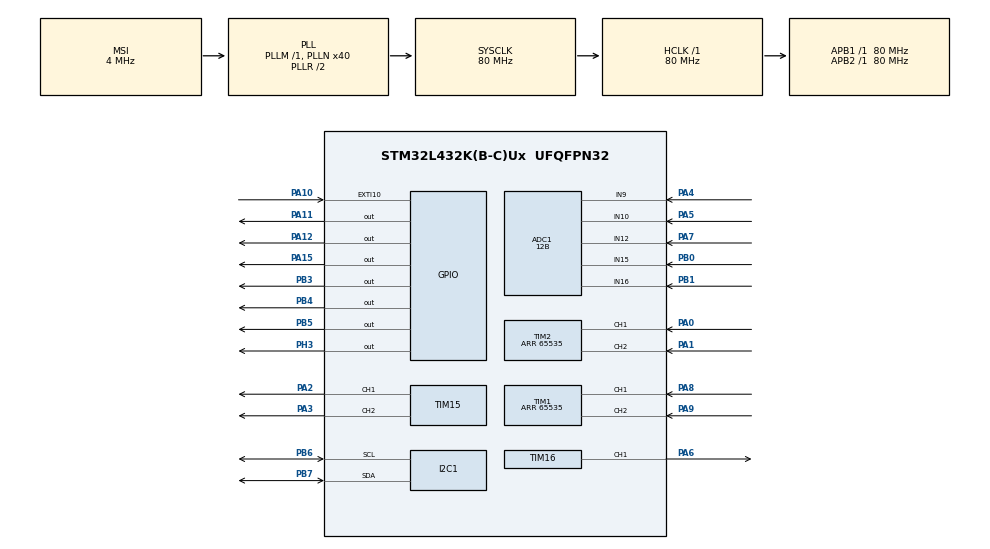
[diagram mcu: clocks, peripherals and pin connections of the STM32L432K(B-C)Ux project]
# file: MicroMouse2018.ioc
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ADC1.Channel-10\#ChannelRegularConversion=ADC_CHANNEL_9
ADC1.Channel-11\#ChannelRegularConversion=ADC_CHANNEL_12
ADC1.Channel-12\#ChannelRegularConversion=ADC_CHANNEL_16
ADC1.Channel-8\#ChannelRegularConversion=ADC_CHANNEL_15
ADC1.Channel-9\#ChannelRegularConversion=ADC_CHANNEL_10
ADC1.ClockPrescaler=ADC_CLOCK_ASYNC_DIV1
ADC1.ContinuousConvMode=ENABLE
ADC1.DMAContinuousRequests=DISABLE
ADC1.DataAlign=ADC_DATAALIGN_RIGHT
ADC1.DiscontinuousConvMode=DISABLE
ADC1.EOCSelection=ADC_EOC_SINGLE_CONV
ADC1.EnableAnalogWatchDog1=false
ADC1.EnableAnalogWatchDog2=false
ADC1.EnableAnalogWatchDog3=false
ADC1.EnableInjectedConversion=DISABLE
ADC1.EnableRegularConversion=ENABLE
ADC1.ExternalTrigConv=ADC_SOFTWARE_START
ADC1.ExternalTrigConvEdge=ADC_EXTERNALTRIGCONVEDGE_NONE
ADC1.LowPowerAutoWait=DISABLE
ADC1.NbrOfConversion=5
ADC1.NbrOfConversionFlag=1
ADC1.OffsetNumber-10\#ChannelRegularConversion=ADC_OFFSET_NONE
ADC1.OffsetNumber-11\#ChannelRegularConversion=ADC_OFFSET_NONE
ADC1.OffsetNumber-12\#ChannelRegularConversion=ADC_OFFSET_NONE
ADC1.OffsetNumber-8\#ChannelRegularConversion=ADC_OFFSET_NONE
ADC1.OffsetNumber-9\#ChannelRegularConversion=ADC_OFFSET_NONE
ADC1.Overrun=ADC_OVR_DATA_PRESERVED
ADC1.OversamplingMode=DISABLE
ADC1.Rank-10\#ChannelRegularConversion=3
ADC1.Rank-11\#ChannelRegularConversion=4
ADC1.Rank-12\#ChannelRegularConversion=5
ADC1.Rank-8\#ChannelRegularConversion=1
ADC1.Rank-9\#ChannelRegularConversion=2
ADC1.Resolution=ADC_RESOLUTION_12B
ADC1.SamplingTime-10\#ChannelRegularConversion=ADC_SAMPLETIME_640CYCLES_5
ADC1.SamplingTime-11\#ChannelRegularConversion=ADC_SAMPLETIME_640CYCLES_5
ADC1.SamplingTime-12\#ChannelRegularConversion=ADC_SAMPLETIME_640CYCLES_5
ADC1.SamplingTime-8\#ChannelRegularConversion=ADC_SAMPLETIME_640CYCLES_5
ADC1.SamplingTime-9\#ChannelRegularConversion=ADC_SAMPLETIME_640CYCLES_5
ADC1.ScanConvMode=ADC_SCAN_ENABLE
ADC1.master=1
Mcu.Family=STM32L4
Mcu.Name=STM32L432K(B-C)Ux
Mcu.Package=UFQFPN32
NVIC.PriorityGroup=NVIC_PRIORITYGROUP_4
NVIC.TIM1_BRK_TIM15_IRQn=true\:0\:0\:false\:false\:true\:true
NVIC.TIM1_CC_IRQn=true\:0\:0\:false\:false\:true\:true
NVIC.TIM1_TRG_COM_IRQn=true\:0\:0\:false\:false\:true\:true
NVIC.TIM1_UP_TIM16_IRQn=true\:0\:0\:false\:false\:true\:true
NVIC.TIM2_IRQn=true\:0\:0\:false\:false\:true\:true
NVIC.TIM7_IRQn=true\:0\:0\:false\:false\:true\:true
PA0.GPIO_PuPd=GPIO_PULLUP
PA0.Signal=S_TIM2_CH1
PA1.GPIO_PuPd=GPIO_PULLUP
PA1.Signal=S_TIM2_CH2
PA10.Signal=GPXTI10
PA11.Signal=GPIO_Output
PA12.Signal=GPIO_Output
PA13\ (JTMS-SWDIO).Mode=Serial_Wire
PA13\ (JTMS-SWDIO).Signal=SYS_JTMS-SWDIO
PA14\ (JTCK-SWCLK).Mode=Serial_Wire
PA14\ (JTCK-SWCLK).Signal=SYS_JTCK-SWCLK
PA15\ (JTDI).Signal=GPIO_Output
PA2.Signal=S_TIM15_CH1
PA3.Signal=S_TIM15_CH2
PA4.Signal=ADCx_IN9
PA5.Signal=ADCx_IN10
PA6.Signal=S_TIM16_CH1
PA7.Signal=ADCx_IN12
PA8.GPIO_PuPd=GPIO_PULLUP
PA8.Signal=S_TIM1_CH1
PA9.GPIO_PuPd=GPIO_PULLUP
PA9.Signal=S_TIM1_CH2
PB0.Signal=ADCx_IN15
PB1.Signal=ADCx_IN16
PB3\ (JTDO-TRACESWO).Signal=GPIO_Output
PB4\ (NJTRST).Signal=GPIO_Output
PB5.Signal=GPIO_Output
PB6.Mode=I2C
PB6.Signal=I2C1_SCL
PB7.Mode=I2C
PB7.Signal=I2C1_SDA
PC14-OSC32_IN\ (PC14).Mode=LSE-External-Oscillator
PC14-OSC32_IN\ (PC14).Signal=RCC_OSC32_IN
PC15-OSC32_OUT\ (PC15).Mode=LSE-External-Oscillator
PC15-OSC32_OUT\ (PC15).Signal=RCC_OSC32_OUT
PH3-BOOT0.Signal=GPIO_Output
ProjectManager.HeapSize=0x200
ProjectManager.StackSize=0x400
ProjectManager.TargetToolchain=MDK-ARM V5
RCC.ADCFreq_Value=32000000
RCC.AHBFreq_Value=80000000
RCC.APB1Freq_Value=80000000
RCC.APB1TimFreq_Value=80000000
RCC.APB2Freq_Value=80000000
RCC.APB2TimFreq_Value=80000000
RCC.CortexFreq_Value=80000000
RCC.HCLKFreq_Value=80000000
RCC.HSE_VALUE=8000000
RCC.HSI16_VALUE=16000000
RCC.HSI48_VALUE=48000000
RCC.HSI_VALUE=16000000
RCC.MSI_VALUE=4000000
RCC.PLLMUL=RCC_PLLMUL_4
RCC.PLLN=40
RCC.PLLSAI1N=16
RCC.SYSCLKFreq_VALUE=80000000
RCC.SYSCLKSource=RCC_SYSCLKSOURCE_PLLCLK
RCC.USBFreq_Value=32000000
RCC.VCOOutputFreq_Value=160000000
SH.ADCx_IN10.0=ADC1_IN10,IN10-Single-Ended
SH.ADCx_IN12.0=ADC1_IN12,IN12-Single-Ended
SH.ADCx_IN15.0=ADC1_IN15,IN15-Single-Ended
SH.ADCx_IN16.0=ADC1_IN16,IN16-Single-Ended
SH.ADCx_IN9.0=ADC1_IN9,IN9-Single-Ended
SH.S_TIM15_CH1.0=TIM15_CH1,PWM Generation1 CH1
SH.S_TIM15_CH2.0=TIM15_CH2,PWM Generation2 CH2
SH.S_TIM16_CH1.0=TIM16_CH1,PWM Generation1 CH1
SH.S_TIM1_CH1.0=TIM1_CH1,Encoder_Interface
SH.S_TIM1_CH2.0=TIM1_CH2,Encoder_Interface
SH.S_TIM2_CH1.0=TIM2_CH1,Encoder_Interface
SH.S_TIM2_CH2.0=TIM2_CH2,Encoder_Interface
TIM1.EncoderMode=TIM_ENCODERMODE_TI12
TIM1.IC1Filter=5
TIM1.IC2Filter=5
TIM1.Period=65535
TIM15.Channel-PWM\ Generation1\ CH1=TIM_CHANNEL_1
TIM15.Channel-PWM\ Generation2\ CH2=TIM_CHANNEL_2
TIM16.Channel=TIM_CHANNEL_1
TIM16.Period=80
TIM16.Prescaler=1000
TIM2.IC1Filter=5
TIM2.IC2Filter=5
TIM2.Period=65535
TIM7.Period=1000
TIM7.Prescaler=80
VP_TIM16_VS_ClockSourceINT.Mode=Enable_Timer
VP_TIM7_VS_ClockSourceINT.Mode=Enable_Timer
board=NUCLEO-L432KC

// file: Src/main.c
/**
  ******************************************************************************
  * @file           : main.c
  * @brief          : Main program body
  ******************************************************************************
  ** This notice applies to any and all portions of this file
  * that are not between comment pairs USER CODE BEGIN and
  * USER CODE END. Other portions of this file, whether
  * inserted by the user or by software development tools
  * are owned by their respective copyright owners.
  *
  * COPYRIGHT(c) 2018 STMicroelectronics
  *
  * Redistribution and use in source and binary forms, with or without modification,
  * are permitted provided that the following conditions are met:
  *   1. Redistributions of source code must retain the above copyright notice,
  *      this list of conditions and the following disclaimer.
  *   2. Redistributions in binary form must reproduce the above copyright notice,
  *      this list of conditions and the following disclaimer in the documentation
  *      and/or other materials provided with the distribution.
  *   3. Neither the name of STMicroelectronics nor the names of its contributors
  *      may be used to endorse or promote products derived from this software
  *      without specific prior written permission.
  *
  * THIS SOFTWARE IS PROVIDED BY THE COPYRIGHT HOLDERS AND CONTRIBUTORS "AS IS"
  * AND ANY EXPRESS OR IMPLIED WARRANTIES, INCLUDING, BUT NOT LIMITED TO, THE
  * IMPLIED WARRANTIES OF MERCHANTABILITY AND FITNESS FOR A PARTICULAR PURPOSE ARE
  * DISCLAIMED. IN NO EVENT SHALL THE COPYRIGHT HOLDER OR CONTRIBUTORS BE LIABLE
  * FOR ANY DIRECT, INDIRECT, INCIDENTAL, SPECIAL, EXEMPLARY, OR CONSEQUENTIAL
  * DAMAGES (INCLUDING, BUT NOT LIMITED TO, PROCUREMENT OF SUBSTITUTE GOODS OR
  * SERVICES; LOSS OF USE, DATA, OR PROFITS; OR BUSINESS INTERRUPTION) HOWEVER
  * CAUSED AND ON ANY THEORY OF LIABILITY, WHETHER IN CONTRACT, STRICT LIABILITY,
  * OR TORT (INCLUDING NEGLIGENCE OR OTHERWISE) ARISING IN ANY WAY OUT OF THE USE
  * OF THIS SOFTWARE, EVEN IF ADVISED OF THE POSSIBILITY OF SUCH DAMAGE.
  *
  ******************************************************************************
  */
#include "main.h"
#include "stm32l4xx_hal.h"

/* USER CODE BEGIN Includes */
#include "dwt_stm32_delay.h"
#define FLASH_USER_START_ADDR   ADDR_FLASH_PAGE_16   /* Start @ of user Flash area */
#define FLASH_USER_END_ADDR     ADDR_FLASH_PAGE_16 + FLASH_PAGE_SIZE*8 - 1   /* End @ of user Flash area */
/* USER CODE END Includes */

ADC_HandleTypeDef hadc1;

I2C_HandleTypeDef hi2c1;

TIM_HandleTypeDef htim1;
TIM_HandleTypeDef htim2;
TIM_HandleTypeDef htim7;
TIM_HandleTypeDef htim15;
TIM_HandleTypeDef htim16;

/* USER CODE BEGIN PV */
/* Private variables ---------------------------------------------------------*/
int adcValue[5];
uint32_t time=0;

uint32_t indX = 0;
int32_t dataRead[4096];
int enc1=0,enc2 =0;

int fotoValue[4];
int dataMeasured[40];
int sum[4];

uint8_t pressed = 0;
uint8_t writeFlash = 0;
uint8_t userButtonCounter = 0;
uint32_t lastChangeTime = 0;
uint16_t userButtonGesture = 0;
uint8_t lastState = 0; //0 = nincs lenyomva, 1 = lenyomva

int before = 0;
int next = 0;

uint32_t FirstPage = 0, NbOfPages = 0, BankNumber = 0;
uint32_t Address = 0, PAGEError = 0, MemoryProgramStatus = 0;

static FLASH_EraseInitTypeDef EraseInitStruct;

/* USER CODE END PV */

void SystemClock_Config(void);
static void MX_GPIO_Init(void);
static void MX_TIM1_Init(void);
static void MX_TIM2_Init(void);
static void MX_TIM15_Init(void);
static void MX_TIM16_Init(void);
static void MX_I2C1_Init(void);
static void MX_ADC1_Init(void);
static void MX_TIM7_Init(void);

void HAL_TIM_MspPostInit(TIM_HandleTypeDef *htim);

/* USER CODE BEGIN PFP */
/* Private function prototypes -----------------------------------------------*/
static uint32_t GetPage(uint32_t Address);
static uint32_t GetBank(uint32_t Address);
void UserButtonHandler(int button_state);
void beep(int note, int duration);
int ReadFoto(int pin);
/* USER CODE END PFP */

/* USER CODE BEGIN 0 */
int64_t dataFlash = 0;

uint8_t data[2];
uint8_t buffer[14];
int16_t value[7];
int i=0;
int fotoindex=0;

//star wars start
const int c = (int)1000000/261; //261Hz
const int d = (int)1000000/294;  //294Hz
const int e = (int)1000000/329; //329Hz
const int f = (int)1000000/349; //349Hz
const int g = (int)1000000/391; //391Hz
const int gS = (int)1000000/415; //415Hz
const int a = (int)1000000/440; //440Hz
const int aS = (int)1000000/455; //455Hz
const int b = (int)1000000/466; //466Hz
const int cH = (int)1000000/523; //523Hz
const int cSH = (int)1000000/554; //554Hz
const int dH = (int)1000000/587; //587Hz
const int dSH = (int)1000000/622; //622Hz
const int eH = (int)1000000/659; //659Hz
const int fH = (int)1000000/698; //698Hz
const int fSH = (int)1000000/740; //740Hz
const int gH = (int)1000000/784; //784Hz
const int gSH = (int)1000000/830; //830Hz
const int aH = (int)1000000/880; //880Hz

void firstSection()
{
  beep(a, 500);
  beep(a, 500);
  beep(a, 500);
  beep(f, 350);
  beep(cH, 150);
  beep(a, 500);
  beep(f, 350);
  beep(cH, 150);
  beep(a, 650);

  HAL_Delay(500);

  beep(eH, 500);
  beep(eH, 500);
  beep(eH, 500);
  beep(fH, 350);
  beep(cH, 150);
  beep(gS, 500);
  beep(f, 350);
  beep(cH, 150);
  beep(a, 650);

  HAL_Delay(500);
}

void secondSection()
{
  beep(aH, 500);
  beep(a, 300);
  beep(a, 150);
  beep(aH, 500);
  beep(gSH, 325);
  beep(gH, 175);
  beep(fSH, 125);
  beep(fH, 125);
  beep(fSH, 250);

  HAL_Delay(325);

  beep(aS, 250);
  beep(dSH, 500);
  beep(dH, 325);
  beep(cSH, 175);
  beep(cH, 125);
  beep(b, 125);
  beep(cH, 250);

  HAL_Delay(350);
}
//star wars end

void ok()
{
for (int i=1000; i<2000; i=i*1.02) beep(500000/i,10);
for (int i=2000; i>1000; i=i*.98) beep(500000/i,10);
for (int i=1000; i<2000; i=i*1.02) beep(500000/i,10);
}

void ohno()
{
for (int i=1000; i<1244; i=i*1.01)  beep(1000000/i,30);
for (int i=1244; i>1000; i=i*.99)beep(1000000/i,30);
}

void beep1()
{
	beep(b,100);
	HAL_Delay(50);
	beep(a,100);
	HAL_Delay(50);
	beep(g,100);
	HAL_Delay(50);
	beep(f,100);
	HAL_Delay(50);
	beep(e,100);
	HAL_Delay(50);
	beep(d,100);
	HAL_Delay(50);
	beep(c,100);
	HAL_Delay(50);
}

void beep2()
{
	beep(c,200);
	HAL_Delay(100);
	beep(d,200);
	HAL_Delay(100);
	beep(e,200);
	HAL_Delay(100);
	beep(f,200);
	HAL_Delay(100);
	beep(g,200);
	HAL_Delay(100);
	beep(a,200);
	HAL_Delay(100);
	beep(b,200);
	HAL_Delay(100);
}

void beep3()
{
	beep(cH,200);
	HAL_Delay(100);
	beep(dH,200);
	HAL_Delay(100);
	beep(eH,200);
	HAL_Delay(100);
	beep(fH,200);
	HAL_Delay(100);
	beep(gH,200);
	HAL_Delay(100);
	beep(aH,200);
	HAL_Delay(100);
}

void beep4()
{
	beep(500,50);
	HAL_Delay(100);
	beep(500,50);
	HAL_Delay(100);
	beep(500,50);
	HAL_Delay(100);

	beep(500,200);
	HAL_Delay(100);
	beep(500,200);
	HAL_Delay(100);
	beep(500,200);
	HAL_Delay(100);

	beep(500,50);
	HAL_Delay(100);
	beep(500,50);
	HAL_Delay(100);
	beep(500,50);
	HAL_Delay(100);
}

/* USER CODE END 0 */

int main(void)
{

  /* MCU Configuration----------------------------------------------------------*/

  /* Reset of all peripherals, Initializes the Flash interface and the Systick. */
  HAL_Init();

  /* Configure the system clock */
  SystemClock_Config();

  /* Initialize all configured peripherals */
  MX_GPIO_Init();
  MX_TIM1_Init();
  MX_TIM2_Init();
  MX_TIM15_Init();
  MX_TIM16_Init();
  MX_I2C1_Init();
  MX_ADC1_Init();
  MX_TIM7_Init();
  /* USER CODE BEGIN 2 */
	//microsec
	DWT_Delay_Init ();

	//BUZZER
	HAL_TIM_PWM_Start(&htim16, TIM_CHANNEL_1);
	TIM16->CCR1=0;
//	TIM16->PSC=100;

//	//GYRO
//	if(HAL_I2C_IsDeviceReady(&hi2c1, 0xD0, 2, 10) == HAL_OK)
//	{
//		ok();
//	}
//	else{beep4(); HAL_GPIO_WritePin(GPIOB, GPIO_PIN_3, GPIO_PIN_SET);}
//	HAL_Delay(300);
//
//	//Transmit via I2C
//	data[0]=0x6B;
//	data[1]=0x00;
//	HAL_I2C_Master_Transmit(&hi2c1, 0xD0, data, 2, 10);

	//ENCODER
//	HAL_TIM_Encoder_Start_IT(&htim1, TIM_CHANNEL_1);
//	HAL_TIM_Encoder_Start(&htim1, TIM_CHANNEL_1);
//	HAL_TIM_Encoder_Start_IT(&htim2, TIM_CHANNEL_1);
//	HAL_TIM_Encoder_Start(&htim2, TIM_CHANNEL_1);

	//Timer interrupt
	HAL_TIM_Base_Start_IT(&htim7);
	//set data
	for(int i=0;i< 4096;i++){
		dataRead[i]=0;
	}
	for(int i=0;i< 4;i++){
		fotoValue[i]=0;
		sum[i]=0;
	}
	for(int i=0;i< 40;i++){
		dataMeasured[i]=0;
	}

	/*dataRead[indX++] = 62;
	for(int i=0;i< 256;i++){
		if(i%2 == 0) dataRead[i]=i/2;
		else dataRead[i] = i*501;
	}*/
		/*for(int  i =0; i<400;i++)
		dataRead[indX++] = i*1000+1;*/
	/*for(int i=0;i<100;i++){
		HAL_GPIO_TogglePin(GPIOB,GPIO_PIN_3);
		HAL_Delay(100);
	}*/

	HAL_GPIO_WritePin(GPIOB,GPIO_PIN_4,GPIO_PIN_RESET);
	HAL_GPIO_WritePin(GPIOA,GPIO_PIN_12,GPIO_PIN_RESET);
	HAL_GPIO_WritePin(GPIOA,GPIO_PIN_11,GPIO_PIN_RESET);
	HAL_GPIO_WritePin(GPIOB,GPIO_PIN_3,GPIO_PIN_RESET);

  /* USER CODE END 2 */

  /* Infinite loop */
  /* USER CODE BEGIN WHILE */
  while (1)
  {
		if(writeFlash == 1) break;
//		TIM16->PSC=2000-0.415*adcValue[fotoindex];
//		for(int i=0; i<4; i++)dataRead[indX++]=adcValue[i];
//		HAL_Delay(200);

		//IRLED + FOTO

	if(next>before) {
		for (int i=0; i<10; i++) {
					HAL_GPIO_WritePin(GPIOB,GPIO_PIN_4,GPIO_PIN_SET);
					DWT_Delay_us(100);
					HAL_ADC_Start(&hadc1);
					for(int i =0;i < 5;i++){
						HAL_ADC_PollForConversion(&hadc1,100);
						fotoValue[i] = HAL_ADC_GetValue(&hadc1);
					}
					HAL_ADC_Stop(&hadc1);
					fotoValue[1]= fotoValue[1]-1300;
					HAL_GPIO_WritePin(GPIOB,GPIO_PIN_4,GPIO_PIN_RESET);
					DWT_Delay_us(100000);
					dataMeasured[i] = fotoValue[0];

					HAL_GPIO_WritePin(GPIOA,GPIO_PIN_12,GPIO_PIN_SET);
					DWT_Delay_us(100);
							HAL_ADC_Start(&hadc1);
					for(int i =0;i < 5;i++){
						HAL_ADC_PollForConversion(&hadc1,100);
						fotoValue[i] = HAL_ADC_GetValue(&hadc1);
					}
					HAL_ADC_Stop(&hadc1);
					fotoValue[1]= fotoValue[1]-1300;
					HAL_GPIO_WritePin(GPIOA,GPIO_PIN_12,GPIO_PIN_RESET);
					DWT_Delay_us(100000);
					dataMeasured[i+10] = fotoValue[1];

					HAL_GPIO_WritePin(GPIOA,GPIO_PIN_11,GPIO_PIN_SET);
					DWT_Delay_us(100);
							HAL_ADC_Start(&hadc1);
					for(int i =0;i < 5;i++){
						HAL_ADC_PollForConversion(&hadc1,100);
						fotoValue[i] = HAL_ADC_GetValue(&hadc1);
					}
					HAL_ADC_Stop(&hadc1);
					fotoValue[1]= fotoValue[1]-1300;
					HAL_GPIO_WritePin(GPIOA,GPIO_PIN_11,GPIO_PIN_RESET);
					DWT_Delay_us(100000);
					dataMeasured[i+20] = fotoValue[2];

					HAL_GPIO_WritePin(GPIOB,GPIO_PIN_3,GPIO_PIN_SET);
					DWT_Delay_us(100);
					HAL_ADC_Start(&hadc1);
					for(int i =0;i < 5;i++){
						HAL_ADC_PollForConversion(&hadc1,100);
						fotoValue[i] = HAL_ADC_GetValue(&hadc1);
					}
					HAL_ADC_Stop(&hadc1);
					fotoValue[1]= fotoValue[1]-1300;
					HAL_GPIO_WritePin(GPIOB,GPIO_PIN_3,GPIO_PIN_RESET);
					DWT_Delay_us(100000);
					dataMeasured[i+30] = fotoValue[3];
		}
		for(int i=0; i<10;i++){
			sum[0] += dataMeasured[i];
			sum[1] += dataMeasured[i+10];
			sum[2] += dataMeasured[i+20];
			sum[3] += dataMeasured[i+30];
		}
		for(int i =0;i<4;i++){
			dataRead[indX++] = sum[i]/10;
			sum[i]=0;
		}
		before=next;
		beep(500, 100);
	}
	if(pressed == 1){
		pressed=0;
		beep(500, 50);
		HAL_Delay(50);
		beep(500, 50);
	}

		HAL_ADC_Start(&hadc1);
		for(int i =0;i < 5;i++){
			HAL_ADC_PollForConversion(&hadc1,100);
			adcValue[i] = HAL_ADC_GetValue(&hadc1);
		}
		HAL_ADC_Stop(&hadc1);
		HAL_Delay(50);
		UserButtonHandler(adcValue[4]);

//		//ENCODER
//		//if(adcValue[4] < 10) break;
//		enc1=TIM1->CNT;
//		dataRead[indX++] = enc1;
//		enc2=TIM2->CNT;
//		dataRead[indX++] = enc2;
//		HAL_Delay(100);
//		if(enc1 != 0 || enc2 != 0)
//			HAL_GPIO_WritePin(GPIOB,GPIO_PIN_13,GPIO_PIN_SET);

//		//GYRO
//	data[0]=0x3B;
//	HAL_I2C_Master_Transmit(&hi2c1, 0xD0, data, 1, 10);
//	HAL_Delay(10);
//	HAL_I2C_Master_Receive(&hi2c1, 0xD1, buffer, 14, 10);
//	for(int i=0;i<7;i++)
//		{
//			value[i]=(buffer[2*i]<<8) + buffer[2*i+1];
//		}
//	value[3]=value[3]/340.00+36.53;
//	HAL_Delay(1000);
//	for(int  i =0; i<7;i++)
//		dataRead[indX++] = value[i];

//		//BUZZER
//
//	//STAR_WARS START
//	//Play first section
//  firstSection();
//  //Play second section
//  secondSection();
//  //Variant 1
//  beep(f, 250);
//  beep(gS, 500);
//  beep(f, 350);
//  beep(a, 125);
//  beep(cH, 500);
//  beep(a, 375);
//  beep(cH, 125);
//  beep(eH, 650);
//  HAL_Delay(500);
//  //Repeat second section
//  secondSection();
//  //Variant 2
//  beep(f, 250);
//  beep(gS, 500);
//  beep(f, 375);
//  beep(cH, 125);
//  beep(a, 500);
//  beep(f, 375);
//  beep(cH, 125);
//  beep(a, 650);
//  HAL_Delay(650);
//  //STAR_WARS END

//	ok();
//	HAL_Delay(500);
//	ohno();
//	HAL_Delay(500);
//	beep1();
//	HAL_Delay(500);
//	beep2();
//	HAL_Delay(500);
//	beep3();
//	HAL_Delay(500);
//	beep4();
//	HAL_Delay(500);

  /* USER CODE END WHILE */

  /* USER CODE BEGIN 3 */

  }
	if(1) // 0 - doesn't write to flash // 1 - writes to flash
	{
	/* Unlock the Flash to enable the flash control register access *************/
  HAL_FLASH_Unlock();

	/* Erase the user Flash area
    (area defined by FLASH_USER_START_ADDR and FLASH_USER_END_ADDR) ***********/

  /* Clear OPTVERR bit set on virgin samples */
  __HAL_FLASH_CLEAR_FLAG(FLASH_FLAG_OPTVERR);
  /* Get the 1st page to erase */
  FirstPage = GetPage(FLASH_USER_START_ADDR);
  /* Get the number of pages to erase from 1st page */
  NbOfPages = GetPage(FLASH_USER_END_ADDR) - FirstPage + 1;
  /* Get the bank */
  BankNumber = GetBank(FLASH_USER_START_ADDR);
  /* Fill EraseInit structure*/
  EraseInitStruct.TypeErase   = FLASH_TYPEERASE_PAGES;
  EraseInitStruct.Banks       = BankNumber;
  EraseInitStruct.Page        = FirstPage;
  EraseInitStruct.NbPages     = NbOfPages;

	  /* Note: If an erase operation in Flash memory also concerns data in the data or instruction cache,
     you have to make sure that these data are rewritten before they are accessed during code
     execution. If this cannot be done safely, it is recommended to flush the caches by setting the
     DCRST and ICRST bits in the FLASH_CR register. */
  if (HAL_FLASHEx_Erase(&EraseInitStruct, &PAGEError) != HAL_OK)
  {
    /*
      Error occurred while page erase.
      User can add here some code to deal with this error.
      PAGEError will contain the faulty page and then to know the code error on this page,
      user can call function 'HAL_FLASH_GetError()'
    */
    /* Infinite loop */
    while (1)
    {
      //TODO: hiba visszajelzés buzzeren
    }
  }
	/* Program the user Flash area word by word
    (area defined by FLASH_USER_START_ADDR and FLASH_USER_END_ADDR) ***********/

  Address = FLASH_USER_START_ADDR;

	indX = 0;
  while (Address < FLASH_USER_END_ADDR && indX < 4096)
  {
		if (dataRead[indX+1] < 0) dataFlash = ((int64_t)dataRead[indX+1] + 1<<32) + (int64_t)dataRead[indX];
		else dataFlash = ((int64_t)dataRead[indX+1]<<32) + (int64_t)dataRead[indX];
    if (HAL_FLASH_Program(FLASH_TYPEPROGRAM_DOUBLEWORD, Address, dataFlash) == HAL_OK)
    {
      Address = Address + 8;
			indX = indX + 2;
    }
   else
    {
      /* Error occurred while writing data in Flash memory.
         User can add here some code to deal with this error */
      while (1)
      {
			//TODO: hiba visszajelzés buzzeren
      }
    }
  }

  /* Lock the Flash to disable the flash control register access (recommended
     to protect the FLASH memory against possible unwanted operation) *********/
  HAL_FLASH_Lock();
	ok();
}

  /* USER CODE END 3 */

}

void SystemClock_Config(void)
{

  RCC_OscInitTypeDef RCC_OscInitStruct;
  RCC_ClkInitTypeDef RCC_ClkInitStruct;
  RCC_PeriphCLKInitTypeDef PeriphClkInit;

    /**Configure LSE Drive Capability
    */
  __HAL_RCC_LSEDRIVE_CONFIG(RCC_LSEDRIVE_LOW);

    /**Initializes the CPU, AHB and APB busses clocks
    */
  RCC_OscInitStruct.OscillatorType = RCC_OSCILLATORTYPE_LSE|RCC_OSCILLATORTYPE_MSI;
  RCC_OscInitStruct.LSEState = RCC_LSE_ON;
  RCC_OscInitStruct.MSIState = RCC_MSI_ON;
  RCC_OscInitStruct.MSICalibrationValue = 0;
  RCC_OscInitStruct.MSIClockRange = RCC_MSIRANGE_6;
  RCC_OscInitStruct.PLL.PLLState = RCC_PLL_ON;
  RCC_OscInitStruct.PLL.PLLSource = RCC_PLLSOURCE_MSI;
  RCC_OscInitStruct.PLL.PLLM = 1;
  RCC_OscInitStruct.PLL.PLLN = 40;
  RCC_OscInitStruct.PLL.PLLP = RCC_PLLP_DIV7;
  RCC_OscInitStruct.PLL.PLLQ = RCC_PLLQ_DIV2;
  RCC_OscInitStruct.PLL.PLLR = RCC_PLLR_DIV2;
  if (HAL_RCC_OscConfig(&RCC_OscInitStruct) != HAL_OK)
  {
    _Error_Handler(__FILE__, __LINE__);
  }

    /**Initializes the CPU, AHB and APB busses clocks
    */
  RCC_ClkInitStruct.ClockType = RCC_CLOCKTYPE_HCLK|RCC_CLOCKTYPE_SYSCLK
                              |RCC_CLOCKTYPE_PCLK1|RCC_CLOCKTYPE_PCLK2;
  RCC_ClkInitStruct.SYSCLKSource = RCC_SYSCLKSOURCE_PLLCLK;
  RCC_ClkInitStruct.AHBCLKDivider = RCC_SYSCLK_DIV1;
  RCC_ClkInitStruct.APB1CLKDivider = RCC_HCLK_DIV1;
  RCC_ClkInitStruct.APB2CLKDivider = RCC_HCLK_DIV1;

  if (HAL_RCC_ClockConfig(&RCC_ClkInitStruct, FLASH_LATENCY_4) != HAL_OK)
  {
    _Error_Handler(__FILE__, __LINE__);
  }

  PeriphClkInit.PeriphClockSelection = RCC_PERIPHCLK_I2C1|RCC_PERIPHCLK_ADC;
  PeriphClkInit.I2c1ClockSelection = RCC_I2C1CLKSOURCE_PCLK1;
  PeriphClkInit.AdcClockSelection = RCC_ADCCLKSOURCE_PLLSAI1;
  PeriphClkInit.PLLSAI1.PLLSAI1Source = RCC_PLLSOURCE_MSI;
  PeriphClkInit.PLLSAI1.PLLSAI1M = 1;
  PeriphClkInit.PLLSAI1.PLLSAI1N = 16;
  PeriphClkInit.PLLSAI1.PLLSAI1P = RCC_PLLP_DIV7;
  PeriphClkInit.PLLSAI1.PLLSAI1Q = RCC_PLLQ_DIV2;
  PeriphClkInit.PLLSAI1.PLLSAI1R = RCC_PLLR_DIV2;
  PeriphClkInit.PLLSAI1.PLLSAI1ClockOut = RCC_PLLSAI1_ADC1CLK;
  if (HAL_RCCEx_PeriphCLKConfig(&PeriphClkInit) != HAL_OK)
  {
    _Error_Handler(__FILE__, __LINE__);
  }

    /**Configure the main internal regulator output voltage
    */
  if (HAL_PWREx_ControlVoltageScaling(PWR_REGULATOR_VOLTAGE_SCALE1) != HAL_OK)
  {
    _Error_Handler(__FILE__, __LINE__);
  }

    /**Configure the Systick interrupt time
    */
  HAL_SYSTICK_Config(HAL_RCC_GetHCLKFreq()/1000);

    /**Configure the Systick
    */
  HAL_SYSTICK_CLKSourceConfig(SYSTICK_CLKSOURCE_HCLK);

    /**Enable MSI Auto calibration
    */
  HAL_RCCEx_EnableMSIPLLMode();

  /* SysTick_IRQn interrupt configuration */
  HAL_NVIC_SetPriority(SysTick_IRQn, 0, 0);
}

/* ADC1 init function */
static void MX_ADC1_Init(void)
{

  ADC_ChannelConfTypeDef sConfig;

    /**Common config
    */
  hadc1.Instance = ADC1;
  hadc1.Init.ClockPrescaler = ADC_CLOCK_ASYNC_DIV1;
  hadc1.Init.Resolution = ADC_RESOLUTION_12B;
  hadc1.Init.DataAlign = ADC_DATAALIGN_RIGHT;
  hadc1.Init.ScanConvMode = ADC_SCAN_ENABLE;
  hadc1.Init.EOCSelection = ADC_EOC_SINGLE_CONV;
  hadc1.Init.LowPowerAutoWait = DISABLE;
  hadc1.Init.ContinuousConvMode = ENABLE;
  hadc1.Init.NbrOfConversion = 5;
  hadc1.Init.DiscontinuousConvMode = DISABLE;
  hadc1.Init.NbrOfDiscConversion = 1;
  hadc1.Init.ExternalTrigConv = ADC_SOFTWARE_START;
  hadc1.Init.ExternalTrigConvEdge = ADC_EXTERNALTRIGCONVEDGE_NONE;
  hadc1.Init.DMAContinuousRequests = DISABLE;
  hadc1.Init.Overrun = ADC_OVR_DATA_PRESERVED;
  hadc1.Init.OversamplingMode = DISABLE;
  if (HAL_ADC_Init(&hadc1) != HAL_OK)
  {
    _Error_Handler(__FILE__, __LINE__);
  }

    /**Configure Regular Channel
    */
  sConfig.Channel = ADC_CHANNEL_15;
  sConfig.Rank = ADC_REGULAR_RANK_1;
  sConfig.SamplingTime = ADC_SAMPLETIME_640CYCLES_5;
  sConfig.SingleDiff = ADC_SINGLE_ENDED;
  sConfig.OffsetNumber = ADC_OFFSET_NONE;
  sConfig.Offset = 0;
  if (HAL_ADC_ConfigChannel(&hadc1, &sConfig) != HAL_OK)
  {
    _Error_Handler(__FILE__, __LINE__);
  }

    /**Configure Regular Channel
    */
  sConfig.Channel = ADC_CHANNEL_10;
  sConfig.Rank = ADC_REGULAR_RANK_2;
  if (HAL_ADC_ConfigChannel(&hadc1, &sConfig) != HAL_OK)
  {
    _Error_Handler(__FILE__, __LINE__);
  }

    /**Configure Regular Channel
    */
  sConfig.Channel = ADC_CHANNEL_9;
  sConfig.Rank = ADC_REGULAR_RANK_3;
  if (HAL_ADC_ConfigChannel(&hadc1, &sConfig) != HAL_OK)
  {
    _Error_Handler(__FILE__, __LINE__);
  }

    /**Configure Regular Channel
    */
  sConfig.Channel = ADC_CHANNEL_12;
  sConfig.Rank = ADC_REGULAR_RANK_4;
  if (HAL_ADC_ConfigChannel(&hadc1, &sConfig) != HAL_OK)
  {
    _Error_Handler(__FILE__, __LINE__);
  }

    /**Configure Regular Channel
    */
  sConfig.Channel = ADC_CHANNEL_16;
  sConfig.Rank = ADC_REGULAR_RANK_5;
  if (HAL_ADC_ConfigChannel(&hadc1, &sConfig) != HAL_OK)
  {
    _Error_Handler(__FILE__, __LINE__);
  }

}

/* I2C1 init function */
static void MX_I2C1_Init(void)
{

  hi2c1.Instance = I2C1;
  hi2c1.Init.Timing = 0x10909CEC;
  hi2c1.Init.OwnAddress1 = 0;
  hi2c1.Init.AddressingMode = I2C_ADDRESSINGMODE_7BIT;
  hi2c1.Init.DualAddressMode = I2C_DUALADDRESS_DISABLE;
  hi2c1.Init.OwnAddress2 = 0;
  hi2c1.Init.OwnAddress2Masks = I2C_OA2_NOMASK;
  hi2c1.Init.GeneralCallMode = I2C_GENERALCALL_DISABLE;
  hi2c1.Init.NoStretchMode = I2C_NOSTRETCH_DISABLE;
  if (HAL_I2C_Init(&hi2c1) != HAL_OK)
  {
    _Error_Handler(__FILE__, __LINE__);
  }

    /**Configure Analogue filter
    */
  if (HAL_I2CEx_ConfigAnalogFilter(&hi2c1, I2C_ANALOGFILTER_ENABLE) != HAL_OK)
  {
    _Error_Handler(__FILE__, __LINE__);
  }

    /**Configure Digital filter
    */
  if (HAL_I2CEx_ConfigDigitalFilter(&hi2c1, 0) != HAL_OK)
  {
    _Error_Handler(__FILE__, __LINE__);
  }

}

/* TIM1 init function */
static void MX_TIM1_Init(void)
{

  TIM_Encoder_InitTypeDef sConfig;
  TIM_MasterConfigTypeDef sMasterConfig;

  htim1.Instance = TIM1;
  htim1.Init.Prescaler = 0;
  htim1.Init.CounterMode = TIM_COUNTERMODE_UP;
  htim1.Init.Period = 65535;
  htim1.Init.ClockDivision = TIM_CLOCKDIVISION_DIV1;
  htim1.Init.RepetitionCounter = 0;
  htim1.Init.AutoReloadPreload = TIM_AUTORELOAD_PRELOAD_DISABLE;
  sConfig.EncoderMode = TIM_ENCODERMODE_TI12;
  sConfig.IC1Polarity = TIM_ICPOLARITY_RISING;
  sConfig.IC1Selection = TIM_ICSELECTION_DIRECTTI;
  sConfig.IC1Prescaler = TIM_ICPSC_DIV1;
  sConfig.IC1Filter = 5;
  sConfig.IC2Polarity = TIM_ICPOLARITY_RISING;
  sConfig.IC2Selection = TIM_ICSELECTION_DIRECTTI;
  sConfig.IC2Prescaler = TIM_ICPSC_DIV1;
  sConfig.IC2Filter = 5;
  if (HAL_TIM_Encoder_Init(&htim1, &sConfig) != HAL_OK)
  {
    _Error_Handler(__FILE__, __LINE__);
  }

  sMasterConfig.MasterOutputTrigger = TIM_TRGO_RESET;
  sMasterConfig.MasterOutputTrigger2 = TIM_TRGO2_RESET;
  sMasterConfig.MasterSlaveMode = TIM_MASTERSLAVEMODE_DISABLE;
  if (HAL_TIMEx_MasterConfigSynchronization(&htim1, &sMasterConfig) != HAL_OK)
  {
    _Error_Handler(__FILE__, __LINE__);
  }

}

/* TIM2 init function */
static void MX_TIM2_Init(void)
{

  TIM_Encoder_InitTypeDef sConfig;
  TIM_MasterConfigTypeDef sMasterConfig;

  htim2.Instance = TIM2;
  htim2.Init.Prescaler = 0;
  htim2.Init.CounterMode = TIM_COUNTERMODE_UP;
  htim2.Init.Period = 65535;
  htim2.Init.ClockDivision = TIM_CLOCKDIVISION_DIV1;
  htim2.Init.AutoReloadPreload = TIM_AUTORELOAD_PRELOAD_DISABLE;
  sConfig.EncoderMode = TIM_ENCODERMODE_TI1;
  sConfig.IC1Polarity = TIM_ICPOLARITY_RISING;
  sConfig.IC1Selection = TIM_ICSELECTION_DIRECTTI;
  sConfig.IC1Prescaler = TIM_ICPSC_DIV1;
  sConfig.IC1Filter = 5;
  sConfig.IC2Polarity = TIM_ICPOLARITY_RISING;
  sConfig.IC2Selection = TIM_ICSELECTION_DIRECTTI;
  sConfig.IC2Prescaler = TIM_ICPSC_DIV1;
  sConfig.IC2Filter = 5;
  if (HAL_TIM_Encoder_Init(&htim2, &sConfig) != HAL_OK)
  {
    _Error_Handler(__FILE__, __LINE__);
  }

  sMasterConfig.MasterOutputTrigger = TIM_TRGO_RESET;
  sMasterConfig.MasterSlaveMode = TIM_MASTERSLAVEMODE_DISABLE;
  if (HAL_TIMEx_MasterConfigSynchronization(&htim2, &sMasterConfig) != HAL_OK)
  {
    _Error_Handler(__FILE__, __LINE__);
  }

}

/* TIM7 init function */
static void MX_TIM7_Init(void)
{

  TIM_MasterConfigTypeDef sMasterConfig;

  htim7.Instance = TIM7;
  htim7.Init.Prescaler = 80;
  htim7.Init.CounterMode = TIM_COUNTERMODE_UP;
  htim7.Init.Period = 1000;
  htim7.Init.AutoReloadPreload = TIM_AUTORELOAD_PRELOAD_DISABLE;
  if (HAL_TIM_Base_Init(&htim7) != HAL_OK)
  {
    _Error_Handler(__FILE__, __LINE__);
  }

  sMasterConfig.MasterOutputTrigger = TIM_TRGO_RESET;
  sMasterConfig.MasterSlaveMode = TIM_MASTERSLAVEMODE_DISABLE;
  if (HAL_TIMEx_MasterConfigSynchronization(&htim7, &sMasterConfig) != HAL_OK)
  {
    _Error_Handler(__FILE__, __LINE__);
  }

}

/* TIM15 init function */
static void MX_TIM15_Init(void)
{

  TIM_MasterConfigTypeDef sMasterConfig;
  TIM_OC_InitTypeDef sConfigOC;
  TIM_BreakDeadTimeConfigTypeDef sBreakDeadTimeConfig;

  htim15.Instance = TIM15;
  htim15.Init.Prescaler = 0;
  htim15.Init.CounterMode = TIM_COUNTERMODE_UP;
  htim15.Init.Period = 0;
  htim15.Init.ClockDivision = TIM_CLOCKDIVISION_DIV1;
  htim15.Init.RepetitionCounter = 0;
  htim15.Init.AutoReloadPreload = TIM_AUTORELOAD_PRELOAD_DISABLE;
  if (HAL_TIM_PWM_Init(&htim15) != HAL_OK)
  {
    _Error_Handler(__FILE__, __LINE__);
  }

  sMasterConfig.MasterOutputTrigger = TIM_TRGO_RESET;
  sMasterConfig.MasterSlaveMode = TIM_MASTERSLAVEMODE_DISABLE;
  if (HAL_TIMEx_MasterConfigSynchronization(&htim15, &sMasterConfig) != HAL_OK)
  {
    _Error_Handler(__FILE__, __LINE__);
  }

  sConfigOC.OCMode = TIM_OCMODE_PWM1;
  sConfigOC.Pulse = 0;
  sConfigOC.OCPolarity = TIM_OCPOLARITY_HIGH;
  sConfigOC.OCNPolarity = TIM_OCNPOLARITY_HIGH;
  sConfigOC.OCFastMode = TIM_OCFAST_DISABLE;
  sConfigOC.OCIdleState = TIM_OCIDLESTATE_RESET;
  sConfigOC.OCNIdleState = TIM_OCNIDLESTATE_RESET;
  if (HAL_TIM_PWM_ConfigChannel(&htim15, &sConfigOC, TIM_CHANNEL_1) != HAL_OK)
  {
    _Error_Handler(__FILE__, __LINE__);
  }

  if (HAL_TIM_PWM_ConfigChannel(&htim15, &sConfigOC, TIM_CHANNEL_2) != HAL_OK)
  {
    _Error_Handler(__FILE__, __LINE__);
  }

  sBreakDeadTimeConfig.OffStateRunMode = TIM_OSSR_DISABLE;
  sBreakDeadTimeConfig.OffStateIDLEMode = TIM_OSSI_DISABLE;
  sBreakDeadTimeConfig.LockLevel = TIM_LOCKLEVEL_OFF;
  sBreakDeadTimeConfig.DeadTime = 0;
  sBreakDeadTimeConfig.BreakState = TIM_BREAK_DISABLE;
  sBreakDeadTimeConfig.BreakPolarity = TIM_BREAKPOLARITY_HIGH;
  sBreakDeadTimeConfig.BreakFilter = 0;
  sBreakDeadTimeConfig.AutomaticOutput = TIM_AUTOMATICOUTPUT_DISABLE;
  if (HAL_TIMEx_ConfigBreakDeadTime(&htim15, &sBreakDeadTimeConfig) != HAL_OK)
  {
    _Error_Handler(__FILE__, __LINE__);
  }

  HAL_TIM_MspPostInit(&htim15);

}

/* TIM16 init function */
static void MX_TIM16_Init(void)
{

  TIM_OC_InitTypeDef sConfigOC;
  TIM_BreakDeadTimeConfigTypeDef sBreakDeadTimeConfig;

  htim16.Instance = TIM16;
  htim16.Init.Prescaler = 1000;
  htim16.Init.CounterMode = TIM_COUNTERMODE_UP;
  htim16.Init.Period = 80;
  htim16.Init.ClockDivision = TIM_CLOCKDIVISION_DIV1;
  htim16.Init.RepetitionCounter = 0;
  htim16.Init.AutoReloadPreload = TIM_AUTORELOAD_PRELOAD_DISABLE;
  if (HAL_TIM_Base_Init(&htim16) != HAL_OK)
  {
    _Error_Handler(__FILE__, __LINE__);
  }

  if (HAL_TIM_PWM_Init(&htim16) != HAL_OK)
  {
    _Error_Handler(__FILE__, __LINE__);
  }

  sConfigOC.OCMode = TIM_OCMODE_PWM1;
  sConfigOC.Pulse = 0;
  sConfigOC.OCPolarity = TIM_OCPOLARITY_HIGH;
  sConfigOC.OCNPolarity = TIM_OCNPOLARITY_HIGH;
  sConfigOC.OCFastMode = TIM_OCFAST_DISABLE;
  sConfigOC.OCIdleState = TIM_OCIDLESTATE_RESET;
  sConfigOC.OCNIdleState = TIM_OCNIDLESTATE_RESET;
  if (HAL_TIM_PWM_ConfigChannel(&htim16, &sConfigOC, TIM_CHANNEL_1) != HAL_OK)
  {
    _Error_Handler(__FILE__, __LINE__);
  }

  sBreakDeadTimeConfig.OffStateRunMode = TIM_OSSR_DISABLE;
  sBreakDeadTimeConfig.OffStateIDLEMode = TIM_OSSI_DISABLE;
  sBreakDeadTimeConfig.LockLevel = TIM_LOCKLEVEL_OFF;
  sBreakDeadTimeConfig.DeadTime = 0;
  sBreakDeadTimeConfig.BreakState = TIM_BREAK_DISABLE;
  sBreakDeadTimeConfig.BreakPolarity = TIM_BREAKPOLARITY_HIGH;
  sBreakDeadTimeConfig.BreakFilter = 0;
  sBreakDeadTimeConfig.AutomaticOutput = TIM_AUTOMATICOUTPUT_DISABLE;
  if (HAL_TIMEx_ConfigBreakDeadTime(&htim16, &sBreakDeadTimeConfig) != HAL_OK)
  {
    _Error_Handler(__FILE__, __LINE__);
  }

  HAL_TIM_MspPostInit(&htim16);

}

/** Configure pins as
        * Analog
        * Input
        * Output
        * EVENT_OUT
        * EXTI
*/
static void MX_GPIO_Init(void)
{

  GPIO_InitTypeDef GPIO_InitStruct;

  /* GPIO Ports Clock Enable */
  __HAL_RCC_GPIOC_CLK_ENABLE();
  __HAL_RCC_GPIOA_CLK_ENABLE();
  __HAL_RCC_GPIOB_CLK_ENABLE();
  __HAL_RCC_GPIOH_CLK_ENABLE();

  /*Configure GPIO pin Output Level */
  HAL_GPIO_WritePin(GPIOA, GPIO_PIN_11|GPIO_PIN_12|GPIO_PIN_15, GPIO_PIN_RESET);

  /*Configure GPIO pin Output Level */
  HAL_GPIO_WritePin(GPIOB, GPIO_PIN_3|GPIO_PIN_4|GPIO_PIN_5, GPIO_PIN_RESET);

  /*Configure GPIO pin Output Level */
  HAL_GPIO_WritePin(GPIOH, GPIO_PIN_3, GPIO_PIN_RESET);

  /*Configure GPIO pin : PA10 */
  GPIO_InitStruct.Pin = GPIO_PIN_10;
  GPIO_InitStruct.Mode = GPIO_MODE_IT_RISING;
  GPIO_InitStruct.Pull = GPIO_NOPULL;
  HAL_GPIO_Init(GPIOA, &GPIO_InitStruct);

  /*Configure GPIO pins : PA11 PA12 PA15 */
  GPIO_InitStruct.Pin = GPIO_PIN_11|GPIO_PIN_12|GPIO_PIN_15;
  GPIO_InitStruct.Mode = GPIO_MODE_OUTPUT_PP;
  GPIO_InitStruct.Pull = GPIO_NOPULL;
  GPIO_InitStruct.Speed = GPIO_SPEED_FREQ_LOW;
  HAL_GPIO_Init(GPIOA, &GPIO_InitStruct);

  /*Configure GPIO pins : PB3 PB4 PB5 */
  GPIO_InitStruct.Pin = GPIO_PIN_3|GPIO_PIN_4|GPIO_PIN_5;
  GPIO_InitStruct.Mode = GPIO_MODE_OUTPUT_PP;
  GPIO_InitStruct.Pull = GPIO_NOPULL;
  GPIO_InitStruct.Speed = GPIO_SPEED_FREQ_LOW;
  HAL_GPIO_Init(GPIOB, &GPIO_InitStruct);

  /*Configure GPIO pin : PH3 */
  GPIO_InitStruct.Pin = GPIO_PIN_3;
  GPIO_InitStruct.Mode = GPIO_MODE_OUTPUT_PP;
  GPIO_InitStruct.Pull = GPIO_NOPULL;
  GPIO_InitStruct.Speed = GPIO_SPEED_FREQ_LOW;
  HAL_GPIO_Init(GPIOH, &GPIO_InitStruct);

}

/* USER CODE BEGIN 4 */
/**
  * @brief  Gets the page of a given address
  * @param  Addr: Address of the FLASH Memory
  * @retval The page of a given address
  */
static uint32_t GetPage(uint32_t Addr)
{
  uint32_t page = 0;

  if (Addr < (FLASH_BASE + FLASH_BANK_SIZE))
  {
    /* Bank 1 */
    page = (Addr - FLASH_BASE) / FLASH_PAGE_SIZE;
  }
  else
  {
    /* Bank 2 */
    page = (Addr - (FLASH_BASE + FLASH_BANK_SIZE)) / FLASH_PAGE_SIZE;
  }

  return page;
}

/**
  * @brief  Gets the bank of a given address
  * @param  Addr: Address of the FLASH Memory
  * @retval The bank of a given address
  */
static uint32_t GetBank(uint32_t Addr)
{
  return FLASH_BANK_1;
}

/**
  * @brief  Felismeri a gombbal lenyomott mintákat
  * @param  userButton: a gombra kötött pin ADC értéke, GND = gomb lenyomva
  */
void UserButtonHandler(int userButton)
{
	if(time - lastChangeTime > 50) //DEBOUNCE
	{
	if(userButton < 10 && lastState ==0){
		lastState = 1;
		lastChangeTime = time;
	}

	else if(userButton > 500 && lastState ==1){
		lastState = 0;
		//dataRead[indX++] = time - lastChangeTime; //DEBUG
		if(time - lastChangeTime < 500) userButtonGesture += 2* (1 << userButtonCounter++); //rövid
		else if(time - lastChangeTime >= 500) userButtonGesture += 3* (1 << userButtonCounter++); //hosszú
		lastChangeTime = time;
	}

	else if (userButtonGesture != 0 && userButton > 500 && time - lastChangeTime > 1000){
		//dataRead[indX++] = 666; //DEBUG
			switch(userButtonGesture){
				case 2: //rövid
//					fotoindex++;
//					if(fotoindex>3)fotoindex=0;
					next++;
					break;
				case 3: //hosszú
					pressed = 1;
					fotoindex++;
					if(fotoindex>3)fotoindex=0;
					break;
				case 6: //rövid-rövid
					break;
				case 7: //hosszú-rövid
					break;
				case 8: //rövid-hosszú
					if(TIM16->CCR1 == 0) TIM16->CCR1 = 40;
					else TIM16->CCR1 = 0;
					break;
				case 9: //hosszú-hosszú
					break;
				case 21: //hosszú-hosszú-hosszú
					writeFlash = 1;
					break;
			}
		userButtonGesture = 0;
		userButtonCounter = 0;
	}
	}
}

//buzzer
/**
  * @brief  A megadott hangon, megadott ideig sipol.
  * @param  note: a prescaler értéke, duration: a delay ms-ban
  */
void beep(int note, int duration)
{
  //Play tone on buzzerPin
	TIM16->CCR1 = 40;
  TIM16->PSC=note;
	HAL_Delay(duration);

  //Stop tone on buzzerPin
  TIM16->CCR1 = 0;
}

/* USER CODE END 4 */

void _Error_Handler(char *file, int line)
{
  while(1)
  {
  }
}

/************************ (C) COPYRIGHT STMicroelectronics *****END OF FILE****/
